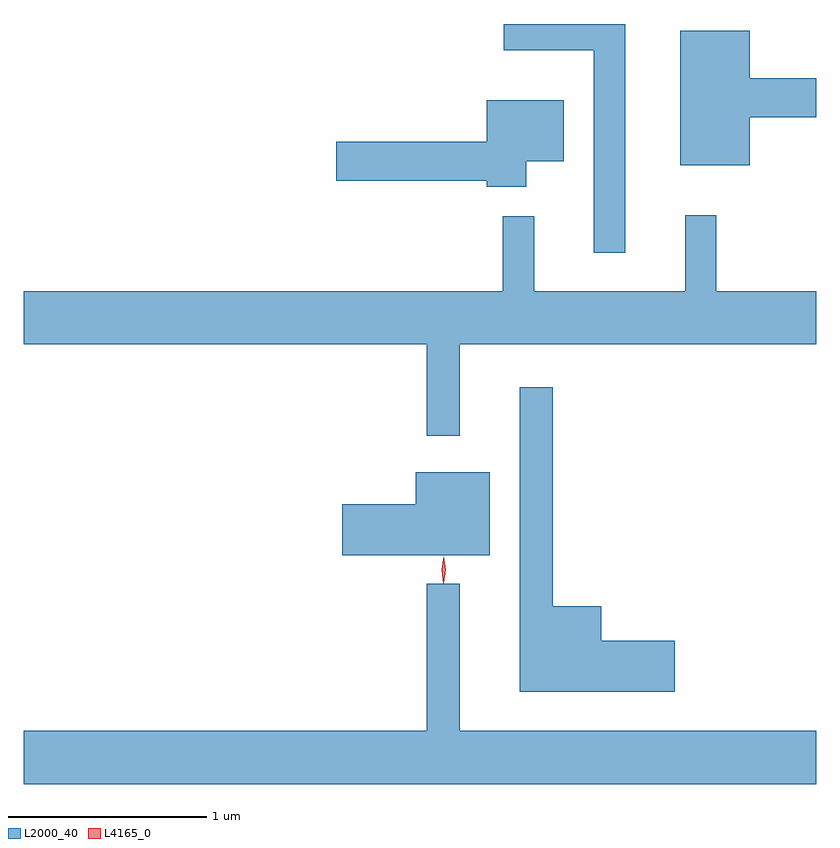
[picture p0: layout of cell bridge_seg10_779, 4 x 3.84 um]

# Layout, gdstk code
import gdstk
lib = gdstk.Library(unit=1e-6, precision=1e-09)
def P(c, l, *ps):  # polygons
    for p in ps: c.add(gdstk.Polygon(p, *l))
L2000_40 = (2000, 40)
L4165_0 = (4165, 0)

bridge_seg10_779 = lib.new_cell('bridge_seg10_779')
P(bridge_seg10_779, L2000_40, [(608.554,2091.113),(607.941,2091.113),(607.941,2090.981),(608.396,2090.981),(608.396,2089.958),(608.554,2089.958)],
  [(609.184,2090.641),(609.518,2090.641),(609.518,2090.839),(609.184,2090.839),(609.184,2091.079),(608.831,2091.079),(608.831,2090.401),(609.184,2090.401)],
  [(608.054,2090.421),(608.244,2090.421),(608.244,2090.729),(607.856,2090.729),(607.856,2090.519),(607.096,2090.519),(607.096,2090.321),(607.856,2090.321),(607.856,2090.291),(608.054,2090.291)],
  [(607.719,2089.496),(609.518,2089.496),(609.518,2089.764),(609.014,2089.764),(609.014,2090.148),(608.856,2090.148),(608.856,2089.764),(608.094,2089.764),(608.094,2090.143),(607.936,2090.143),(607.936,2089.764),(605.518,2089.764),(605.518,2089.496),(607.551,2089.496),(607.551,2089.033),(607.719,2089.033)],
  [(608.804,2087.999),(608.434,2087.999),(608.434,2088.174),(608.189,2088.174),(608.189,2089.278),(608.021,2089.278),(608.021,2087.741),(608.804,2087.741)],
  [(607.869,2088.849),(607.496,2088.849),(607.496,2088.689),(607.126,2088.689),(607.126,2088.431),(607.869,2088.431)],
  [(609.518,2087.544),(607.719,2087.544),(607.719,2088.288),(607.551,2088.288),(607.551,2087.544),(605.518,2087.544),(605.518,2087.276),(609.518,2087.276)])
P(bridge_seg10_779, L4165_0, [(607.637,2088.293),(607.636,2088.294),(607.628,2088.356),(607.638,2088.419),(607.639,2088.42),(607.639,2088.419),(607.648,2088.356),(607.638,2088.294)],
  [(607.636,2088.29),(607.628,2088.358),(607.638,2088.426),(607.638,2088.426),(607.639,2088.426),(607.648,2088.358),(607.638,2088.29),(607.637,2088.29)])

lib.write_gds('bridge_seg10_779.gds')
